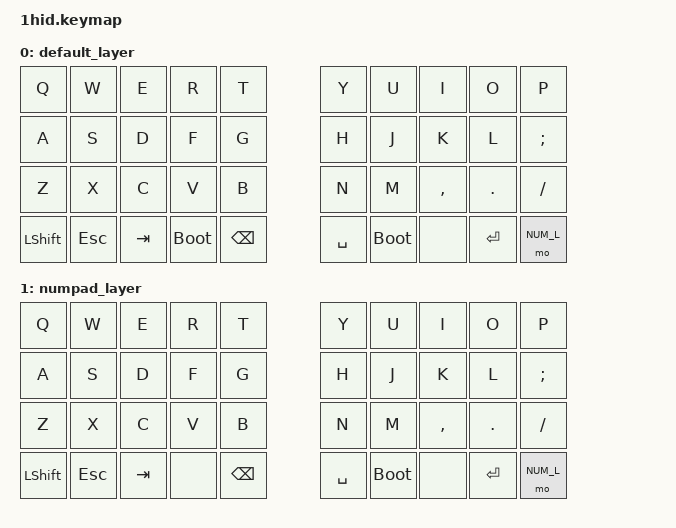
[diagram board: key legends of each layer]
/*
 * Copyright (c) 2022 The ZMK Contributors
 *
 * SPDX-License-Identifier: MIT
 */

#include <behaviors.dtsi>
#include <dt-bindings/zmk/keys.h>
#include <dt-bindings/zmk/bt.h>

#define DEF_L 0
#define APX_L 1
#define NUM_L 2

// Using layer taps on thumbs, having quick tap as well helps w/ repeating space/backspace
&lt { quick_tap_ms = <200>; };


/ {


    keymap {
        compatible = "zmk,keymap";

		default_layer {
     /*
      * ┌───┬───┬───┬───┬───┐           ┌───┬───┬───┬───┬───┐
      * │ Q │ W │ E │ R │ T │           │ Y │ U │ I │ O │ P │
      * ├───┼───┼───┼───┼───┤           ├───┼───┼───┼───┼───┤ 
      * │ A │ S │ D │ F │ G │           │ H │ J │ K │ L │ ; │
      * ├───┼───┼───┼───┼───┤           ├───┼───┼───┼───┼───┤
      * │ Z │ X │ C │ V │ B │           │ N │ M │ , │ . │ / │
      * └───┴───┴───┴───┴───┘           └───┴───┴───┴───┴───┘
      * ┌───┐ ┌───┬───┬───┐ ┌───┐   ┌───┐ ┌───┬───┬───┐ ┌───┐
      * │Sft│ │Esc│Tab│xxx│ │Bsp│   │Spc│ │xxx│xxx│Ent│ │Lyr│
      * └───┘ └───┴───┴───┘ └───┘   └───┘ └───┴───┴───┘ └───┘
      *
	  */

			bindings = <
&kp Q     &kp W     &kp E     &kp R     &kp T               &kp Y     &kp U     &kp I     &kp O     &kp P  
&kp A     &kp S     &kp D     &kp F     &kp G               &kp H     &kp J     &kp K     &kp L     &kp SEMI
&kp Z     &kp X     &kp C     &kp V     &kp B               &kp N     &kp M     &kp COMMA &kp DOT   &kp FSLH   
&kp LSHFT &kp ESC   &kp TAB   &bootloader &kp BSPC                &kp SPACE &bootloader &none &kp ENTER &mo NUM_L

			>;

		};

		numpad_layer {

     /*
      * ┌───┬───┬───┬───┬───┐           ┌───┬───┬───┬───┬───┐
      * │ ! │ @ │ # │ $ │ % │           │ * │ 7 │ 8 │ 9 │ - │
      * ├───┼───┼───┼───┼───┤           ├───┼───┼───┼───┼───┤ 
      * │ ^ │ & │ * │ \ │ | │           │ = │ 4 │ 5 │ 6 │ + │
      * ├───┼───┼───┼───┼───┤           ├───┼───┼───┼───┼───┤
      * │ ` │ ~ │Cpy│Pst│Del│           │Bsp│ 1 │ 2 │ 3 │ / │
      * └───┴───┴───┴───┴───┘           └───┴───┴───┴───┴───┘
      * ┌───┐ ┌───┬───┬───┐ ┌───┐   ┌───┐ ┌───┬───┬───┐ ┌───┐
      * │Sft│ │Und│Red│ F4│ │Spc│   │ 0 │ │ . │ ( │ ) │ │Lyr│
      * └───┘ └───┴───┴───┘ └───┘   └───┘ └───┴───┴───┘ └───┘
      *
	  */

     /*
      * ┌───┬───┬───┬───┬───┬───┬───┐       ┌───┬───┬───┬───┬───┬───┬───┐
      * │DEF│ F1│ F2│ F3│ F4│ F5│ F6│       │ F7│ F8│ / │ * │ - │F11│F12│
      * ├───┼───┼───┼───┼───┼───┼───┤       ├───┼───┼───┼───┼───┼───┼───┤
      * │APX│CAP│ x │ UP│ x │ x │VUP│       │ x │ 7 │ 8 │ 9 │ + │ F9│F10│
      * ├───┼───┼───┼───┼───┼───┼───┤       ├───┼───┼───┼───┼───┼───┼───┤ 
      * │ x │Tab│LFT│DWN│RGT│ x │VDN│       │UND│ 4 │ 5 │ 6 │ x │ x │Ent│
      * ├───┼───┼───┼───┼───┼───┼───┤       ├───┼───┼───┼───┼───┼───┼───┤
      * │PWR│Sft│ x │ x │ x │ x │MUT│       │RED│ 1 │ 2 │ 3 │ x │ x │ x │
      * └───┴───┴───┴───┴───┴───┴───┘       └───┴───┴───┴───┴───┴───┴───┘
      * ┌───┐       ┌───┬───┐                   ┌───┬───┐           ┌───┐
      * │Ctl│       │Alt│Win├───┐           ┌───┤ 0 │ . │           │Lyr│
      * └───┘       └───┴───┤Spa├───┐   ┌───┤Del├───┴───┘           └───┘
      *                     └───┤PST│   │ x ├───┘
      *                         └───┘   └───┘
      *
	  */

			bindings = <
&kp Q     &kp W     &kp E     &kp R     &kp T               &kp Y     &kp U     &kp I     &kp O     &kp P  
&kp A     &kp S     &kp D     &kp F     &kp G               &kp H     &kp J     &kp K     &kp L     &kp SEMI
&kp Z     &kp X     &kp C     &kp V     &kp B               &kp N     &kp M     &kp COMMA &kp DOT   &kp FSLH   
&kp LSHFT &kp ESC   &kp TAB   &none &kp BSPC                &kp SPACE &bootloader &none &kp ENTER &mo NUM_L

			>;
/*
			bindings = <
&to DEF_L &kp F1    &kp F2    &kp F3    &kp F4    &kp F5    &kp F6              &kp F7    &kp F8    &kp FSLH  &kp STAR  &kp MINUS &kp F11   &kp F12       
&to APX_L &kp LCAPS &none     &kp W     &none     &none     &kp K_VOL_UP        &none     &kp N7    &kp N8    &kp N9    &kp PLUS  &kp F9    &kp F10 
&none     &kp TAB   &kp A     &kp S     &kp D     &kp F     &kp K_VOL_DN        &kp K_UNDO &kp N4   &kp N5    &kp N6    &none     &none     &kp ENTER
&ext_power EP_TOG    &kp LSHFT &none     &none     &none     &none     &kp K_MUTE          &kp K_REDO &kp N1   &kp N2    &kp N3    &none     &none     &none   
&kp LCTRL                      &kp LALT  &kp LGUI  &kp SPACE &kp K_PASTE         &none     &kp DEL   &kp N0    &kp DOT                       &mo NUM_L  

			>;
*/
		};
		
	};

};
